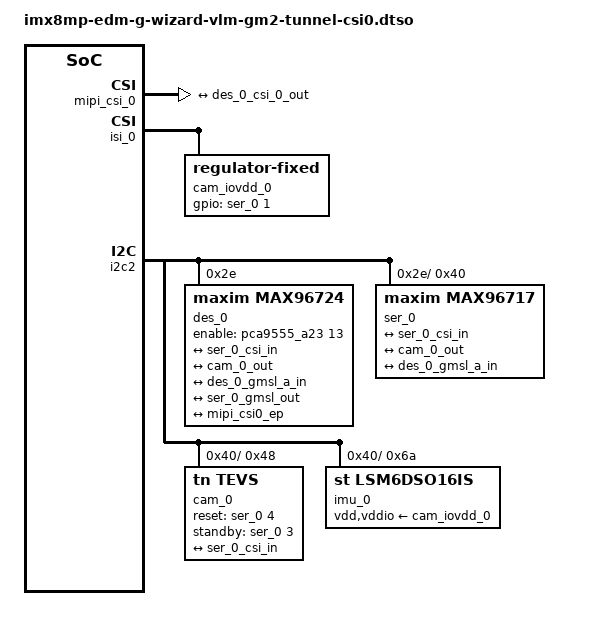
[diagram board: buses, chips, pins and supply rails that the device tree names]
// SPDX-License-Identifier: (GPL-2.0 OR MIT)
/*
 * Copyright 2026 TechNexion Ltd.
 *
 */

/dts-v1/;
/plugin/;

#include <dt-bindings/interrupt-controller/irq.h>
#include <dt-bindings/clock/imx8mp-clock.h>
#include <dt-bindings/gpio/gpio.h>

/*
 * MIPI CSI hs_settle = (lane_rate - 5 MHz) / 45 MHz
 *                    = (1500 - 5) / 45
 *                    = 33
 */
&mipi_csi_0 {
	#address-cells = <1>;
	#size-cells = <0>;
	status = "okay";

	port {
		mipi_csi0_ep: endpoint {
			remote-endpoint = <&des_0_csi_0_out>;
			data-lanes = <4>;
			csis-hs-settle = <33>;
			csis-clk-settle = <2>;
		};
	};
};

&isi_0 {
	status = "okay";

	cam_iovdd_0: regulator-cam-iovdd-0 {
		compatible = "regulator-fixed";
		regulator-name = "cam_iovdd_0";
		regulator-min-microvolt = <1800000>;
		regulator-max-microvolt = <1800000>;
		gpio = <&ser_0 1 GPIO_ACTIVE_HIGH>;
		startup-delay-us = <1000000>;
	};

	cap_device {
		status = "okay";
		fsl,stream-on-downstream-first;
	};

	m2m_device{
		status = "okay";
	};
};

&i2c2 {
	#address-cells = <1>;
	#size-cells = <0>;

	des_0: max96724@2e {
		compatible = "maxim,max96724";
		reg = <0x2e>;
		status = "okay";

		#address-cells = <1>;
		#size-cells = <0>;

		enable-gpios = <&pca9555_a23 13 GPIO_ACTIVE_HIGH>;
		maxim,tunnel-mode;

		i2c-alias-pool = <0x41 0x42 0x43 0x44>;

		i2c-atr {
			#address-cells = <1>;
			#size-cells = <0>;

			des_0_i2c_0: i2c@0 {
				#address-cells = <1>;
				#size-cells = <0>;
				reg = <0>;
			};
		};

		ports {
			#address-cells = <1>;
			#size-cells = <0>;

			port@0 {
				#address-cells = <1>;
				#size-cells = <0>;
				reg = <0>;

				des_0_gmsl_a_in: endpoint@0 {
					remote-endpoint = <&ser_0_gmsl_out>;
				};
			};

			port@4 {
				#address-cells = <1>;
				#size-cells = <0>;
				reg = <4>;

				des_0_csi_0_out: endpoint@0 {
					data-lanes = <1 2 3 4>;
					clock-lanes = <0>;
					bus-type = <4>;
					link-frequencies = /bits/ 64 <750000000>;
					remote-endpoint = <&mipi_csi0_ep>;
				};
			};
		};
	};
};

&des_0_i2c_0 {
	ser_0: serializer@40 {
		compatible = "maxim,max96717";
		reg = <0x40>;

		gpio-controller;
		#gpio-cells = <2>;
		#clock-cells = <0>;

		maxim,tunnel-mode;
		i2c-alias-pool = <0x29 0x5f>;

		pinctrl-names = "default";
		pinctrl-0 = <&ser_0_fsync &ser_0_standby
			     &ser_0_reset &ser_0_ext_en>;

		ser_0_fsync: mfp0-pins {
			pins = "mfp0";
			function = "gpio";
			maxim,rx-id = <0>;
			output-enable;
			output-low;
		};

		ser_0_standby: mfp3-pins {
			pins = "mfp3";
			function = "gpio";
			output-enable;
			output-low;
		};

		ser_0_reset: mfp4-pins {
			pins = "mfp4";
			function = "gpio";
			output-enable;
			output-low;
		};

		ser_0_ext_en: mfp8-pins {
			pins = "mfp8";
			function = "gpio";
			output-enable;
			output-high;
		};

		i2c-atr {
			#address-cells = <1>;
			#size-cells = <0>;

			i2c@0 {
				#address-cells = <1>;
				#size-cells = <0>;
				reg = <0>;

				cam_0: tevs@48 {
					compatible = "tn,tevs";
					reg = <0x48>;
					status = "okay";
					reset-gpios = <&ser_0 4 GPIO_ACTIVE_HIGH>;
					standby-gpios = <&ser_0 3 GPIO_ACTIVE_HIGH>;

					port {
						cam_0_out: endpoint {
							remote-endpoint = <&ser_0_csi_in>;
							data-lanes = <1 2 3 4>;
							clock-lanes = <0>;
							link-frequencies = /bits/ 64 <400000000>;
						};
					};
				};

				imu_0: lsm6dsm@6a {
					compatible = "st,lsm6dso16is";
					reg = <0x6a>;
					vdd-supply = <&cam_iovdd_0>;
					vddio-supply = <&cam_iovdd_0>;
				};
			};
		};

		ports {
			#address-cells = <1>;
			#size-cells = <0>;

			port@0 {
				#address-cells = <1>;
				#size-cells = <0>;
				reg = <0>;
				ser_0_csi_in: endpoint {
					data-lanes = <1 2 3 4>;
					remote-endpoint = <&cam_0_out>;
				};
			};

			port@1 {
				reg = <1>;
				ser_0_gmsl_out: endpoint {
					remote-endpoint = <&des_0_gmsl_a_in>;
				};
			};
		};
	};
};
